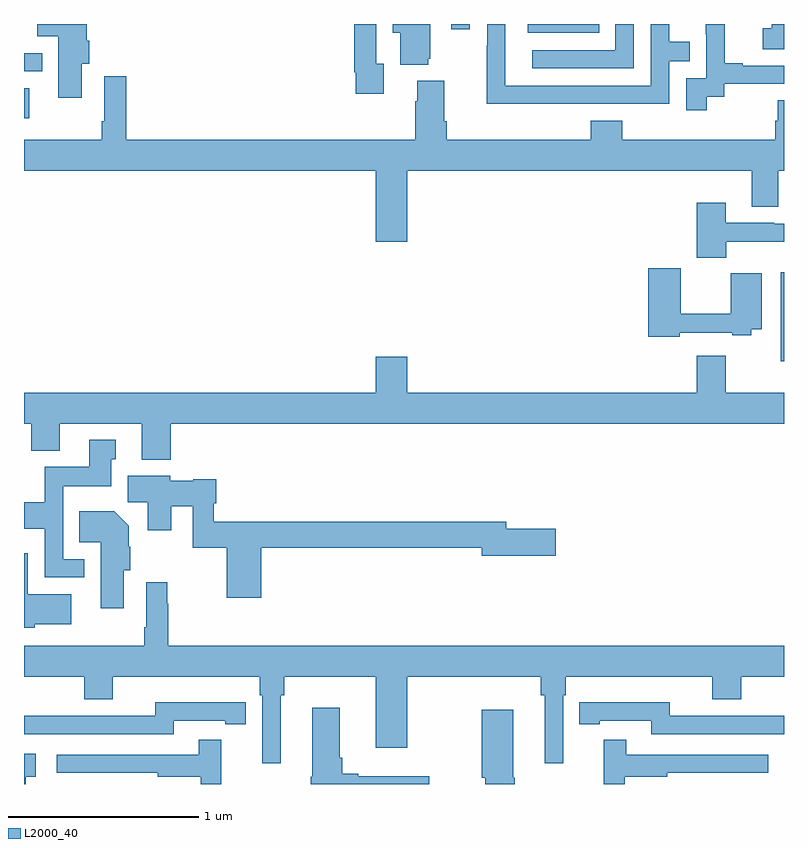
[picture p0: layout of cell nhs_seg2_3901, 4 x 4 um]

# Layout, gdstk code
import gdstk
lib = gdstk.Library(unit=1e-6, precision=1e-09)
def R(c, l, rs):  # rectangles x0, y0, x1, y1
    for r in rs: c.add(gdstk.rectangle(r[:2], r[2:], *l))
def P(c, l, *ps):  # polygons
    for p in ps: c.add(gdstk.Polygon(p, *l))
L2000_40 = (2000, 40)

nhs_seg2_3901 = lib.new_cell('nhs_seg2_3901')
R(nhs_seg2_3901, L2000_40, [(322.982,588.024,323,588.493), (319,589.304,319.027,589.462), (319,589.551,319.096,589.647), (321.65,589.754,322.028,589.8), (321.249,589.773,321.345,589.8)])
P(nhs_seg2_3901, L2000_40, [(321.128,589.617),(321.139,589.617),(321.139,589.8),(320.942,589.8),(320.942,589.754),(320.981,589.754),(320.981,589.586),(321.128,589.586)],
  [(320.893,589.59),(320.853,589.59),(320.853,589.8),(320.737,589.8),(320.737,589.546),(320.745,589.546),(320.745,589.434),(320.893,589.434)],
  [(319.303,589.59),(319.343,589.59),(319.343,589.712),(319.33,589.712),(319.33,589.8),(319.069,589.8),(319.069,589.736),(319.181,589.736),(319.181,589.413),(319.303,589.413)],
  [(323,589.8),(322.936,589.8),(322.936,589.777),(322.887,589.777),(322.887,589.668),(323,589.668)],
  [(322.594,589.417),(322.686,589.417),(322.686,589.485),(323,589.485),(323,589.581),(322.783,589.581),(322.783,589.594),(322.688,589.594),(322.688,589.8),(322.589,589.8),(322.589,589.745),(322.59,589.745),(322.59,589.515),(322.485,589.515),(322.485,589.347),(322.594,589.347)],
  [(321.899,589.38),(322.395,589.38),(322.395,589.605),(322.505,589.605),(322.505,589.706),(322.395,589.706),(322.395,589.8),(322.299,589.8),(322.299,589.476),(321.534,589.476),(321.534,589.8),(321.438,589.8),(321.438,589.685),(321.436,589.685),(321.436,589.379),(321.899,589.379)],
  [(322.209,589.8),(322.113,589.8),(322.113,589.662),(321.675,589.662),(321.675,589.566),(322.209,589.566)],
  [(321.016,589.028),(322.829,589.028),(322.829,588.838),(322.969,588.838),(322.969,589.028),(323,589.028),(323,589.4),(322.967,589.4),(322.967,589.29),(322.955,589.29),(322.955,589.192),(322.148,589.192),(322.148,589.291),(321.983,589.291),(321.983,589.192),(321.224,589.192),(321.224,589.288),(321.211,589.288),(321.211,589.501),(321.071,589.501),(321.071,589.394),(321.059,589.394),(321.059,589.192),(319.538,589.192),(319.538,589.525),(319.422,589.525),(319.422,589.288),(319.41,589.288),(319.41,589.192),(319,589.192),(319,589.028),(320.852,589.028),(320.852,588.654),(321.016,588.654)],
  [(322.696,588.654),(323,588.654),(323,588.75),(322.949,588.75),(322.949,588.753),(322.693,588.753),(322.693,588.859),(322.541,588.859),(322.541,588.569),(322.696,588.569)],
  [(322.452,588.174),(322.727,588.174),(322.727,588.162),(322.827,588.162),(322.827,588.194),(322.882,588.194),(322.882,588.487),(322.72,588.487),(322.72,588.275),(322.456,588.275),(322.456,588.514),(322.286,588.514),(322.286,588.154),(322.452,588.154)],
  [(319.772,587.696),(323,587.696),(323,587.86),(322.693,587.86),(322.693,588.055),(322.541,588.055),(322.541,587.86),(321.016,587.86),(321.016,588.049),(320.852,588.049),(320.852,587.86),(319,587.86),(319,587.696),(319.037,587.696),(319.037,587.555),(319.189,587.555),(319.189,587.696),(319.619,587.696),(319.619,587.507),(319.772,587.507)],
  [(319.318,586.983),(319.206,586.983),(319.206,587.366),(319.459,587.366),(319.459,587.508),(319.483,587.508),(319.483,587.611),(319.343,587.611),(319.343,587.47),(319.108,587.47),(319.108,587.284),(319,587.284),(319,587.144),(319.11,587.144),(319.11,586.887),(319.318,586.887)],
  [(320.249,587.044),(321.41,587.044),(321.41,587.002),(321.799,587.002),(321.799,587.144),(321.538,587.144),(321.538,587.18),(319.999,587.18),(319.999,587.277),(320.011,587.277),(320.011,587.403),(319.89,587.403),(319.89,587.395),(319.77,587.395),(319.77,587.422),(319.547,587.422),(319.547,587.284),(319.652,587.284),(319.652,587.136),(319.774,587.136),(319.774,587.261),(319.887,587.261),(319.887,587.044),(320.066,587.044),(320.066,586.779),(320.249,586.779)],
  [(319.525,586.926),(319.56,586.926),(319.56,587.048),(319.552,587.048),(319.552,587.158),(319.474,587.236),(319.291,587.236),(319.291,587.072),(319.403,587.072),(319.403,586.725),(319.525,586.725)],
  [(319.056,586.64),(319.249,586.64),(319.249,586.798),(319.02,586.798),(319.02,587.014),(319,587.014),(319,586.622),(319.056,586.622)],
  [(320.35,586.268),(320.369,586.268),(320.369,586.364),(320.852,586.364),(320.852,585.99),(321.016,585.99),(321.016,586.364),(321.721,586.364),(321.721,586.268),(321.74,586.268),(321.74,585.909),(321.837,585.909),(321.837,586.268),(321.851,586.268),(321.851,586.364),(322.622,586.364),(322.622,586.247),(322.775,586.247),(322.775,586.364),(323,586.364),(323,586.528),(319.76,586.528),(319.76,586.748),(319.753,586.748),(319.753,586.861),(319.644,586.861),(319.644,586.624),(319.632,586.624),(319.632,586.528),(319,586.528),(319,586.364),(319.316,586.364),(319.316,586.247),(319.468,586.247),(319.468,586.364),(320.24,586.364),(320.24,586.268),(320.253,586.268),(320.253,585.909),(320.35,585.909)],
  [(319.788,586.134),(320.06,586.134),(320.06,586.114),(320.168,586.114),(320.168,586.23),(320.06,586.23),(320.06,586.231),(319.692,586.231),(319.692,586.158),(319.232,586.158),(319.232,586.16),(319,586.16),(319,586.062),(319.788,586.062)],
  [(323,586.16),(322.858,586.16),(322.858,586.158),(322.398,586.158),(322.398,586.231),(322.03,586.231),(322.03,586.23),(321.922,586.23),(321.922,586.114),(322.03,586.114),(322.03,586.134),(322.302,586.134),(322.302,586.062),(323,586.062)],
  [(321.133,585.841),(320.758,585.841),(320.758,585.854),(320.675,585.854),(320.675,585.937),(320.662,585.937),(320.662,586.201),(320.516,586.201),(320.516,585.837),(320.509,585.837),(320.509,585.8),(321.133,585.8)],
  [(321.582,585.834),(321.574,585.834),(321.574,586.192),(321.41,586.192),(321.41,585.834),(321.428,585.834),(321.428,585.8),(321.582,585.8)],
  [(320.039,586.033),(319.921,586.033),(319.921,585.954),(319.173,585.954),(319.173,585.858),(319.705,585.858),(319.705,585.838),(319.929,585.838),(319.929,585.8),(320.039,585.8)],
  [(322.162,585.838),(322.385,585.838),(322.385,585.858),(322.918,585.858),(322.918,585.954),(322.169,585.954),(322.169,586.033),(322.052,586.033),(322.052,585.8),(322.162,585.8)],
  [(319.01,585.837),(319.063,585.837),(319.063,585.958),(319,585.958),(319,585.8),(319.01,585.8)])

lib.write_gds('nhs_seg2_3901.gds')
